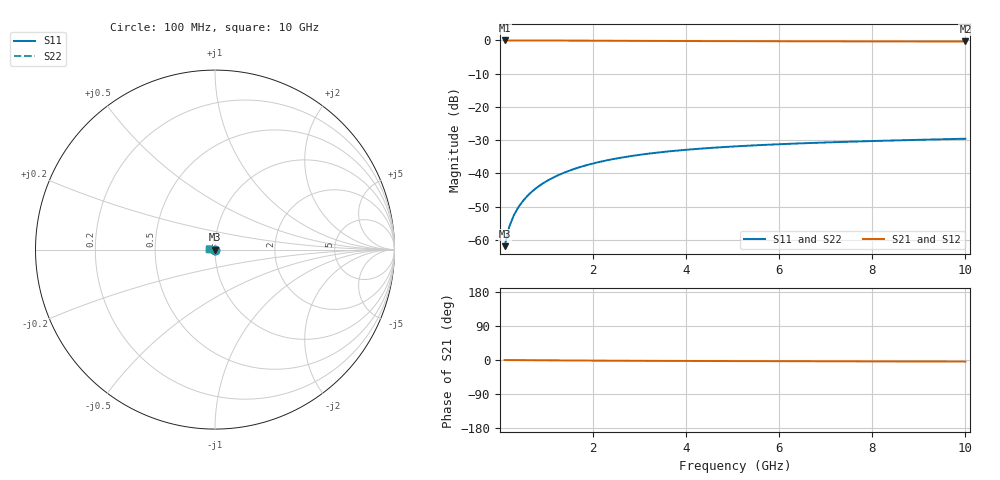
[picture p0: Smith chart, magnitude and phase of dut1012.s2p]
! Touchstone file exported from HFSS 2024.1.0
!  File:  C:/UserFiles/LocalFiles/RDL_TSV_Batchsim/temp_TSV1_1012_1780059064.aedt
!  Generated:  08:55:58 PM May 29, 2026
!  Design:  TSV1
!  Project:  temp_TSV1_1012_1780059064
!  Setup:  Setup1
!  Solution:  Sweep
! Variables:
!  dtsv = 7.64um
!  hbump = 3um
!  htsv = 63.91um
!  lrdl = 252.1521522um
!  p = 40
!  p1 = 42.54um
!  t = 500um
!  trdl = 3um
!  wrdl = 24.89489489um
# GHz S MA R 50.000000
! Terminal data exported
! Port[1] = TSV22_T1
! Port[2] = TSV22_T2
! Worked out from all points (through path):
!   100 points, 100 MHz to 10 GHz, reference 50 ohm
!   highest |S21| = 0.00 dB at 100 MHz (marker M1); lowest = -0.3 dB at 10 GHz (marker M2)
!   lowest |S11| = -61.9 dB at 100 MHz (marker M3), VSWR 1.00, Z = 50 - j0.0777 ohm
!   |S11| at or under -10 dB: start of sweep to end of sweep
!   |S22| runs from -61.9 to -29.6 dB; largest |S21 - S12| = 3e-15
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0.1  0.0008003 -75.9  0.9998 -0.1  0.9998 -0.1  0.0008003 -75.9
! Gamma 0 0 0 0
! Port Impedance 50 0 50 0
0.2  0.001573 -85.3  0.9997 -0.2  0.9997 -0.2  0.001573 -85.3
0.3  0.002349 -89.7  0.9995 -0.3  0.9995 -0.3  0.002349 -89.7
0.4  0.003122 -92.8  0.9994 -0.4  0.9994 -0.4  0.003122 -92.8
0.5  0.00389 -95.3  0.9992 -0.4  0.9992 -0.4  0.00389 -95.3
0.6  0.004651 -97.5  0.9989 -0.5  0.9989 -0.5  0.004651 -97.5
0.7  0.005404 -99.6  0.9986 -0.6  0.9986 -0.6  0.005404 -99.6
0.8  0.006148 -101.6  0.9983 -0.7  0.9983 -0.7  0.006148 -101.6
0.9  0.006882 -103.5  0.9979 -0.8  0.9979 -0.8  0.006882 -103.5
1.1  0.008314 -107.1  0.997 -0.9  0.997 -0.9  0.008314 -107.1
1.4  0.01036 -112.2  0.9955 -1.2  0.9955 -1.2  0.01036 -112.2
1.6  0.01166 -115.4  0.9944 -1.3  0.9944 -1.3  0.01166 -115.4
1.8  0.01289 -118.5  0.9933 -1.4  0.9933 -1.4  0.01289 -118.5
2.1  0.01462 -122.9  0.9914 -1.6  0.9914 -1.6  0.01462 -122.9
2.5  0.0167 -128.4  0.989 -1.9  0.989 -1.9  0.0167 -128.4
2.9  0.01855 -133.6  0.9865 -2.1  0.9865 -2.1  0.01855 -133.6
3.4  0.02056 -139.4  0.9836 -2.3  0.9836 -2.3  0.02056 -139.4
4.2  0.0232 -147.7  0.9795 -2.6  0.9795 -2.6  0.0232 -147.7
5.1  0.02553 -155.7  0.9757 -2.9  0.9757 -2.9  0.02553 -155.7
6.7  0.02863 -167.4  0.9707 -3.3  0.9707 -3.3  0.02864 -167.4
8.4  0.03114 -177.3  0.9671 -3.8  0.9671 -3.8  0.03114 -177.3
10  0.03315 174.8  0.9647 -4.2  0.9647 -4.2  0.03315 174.8
